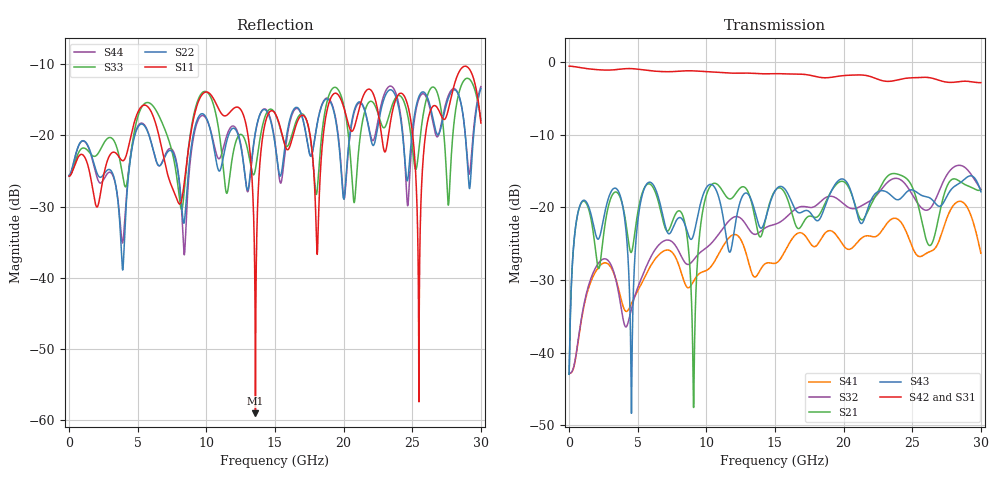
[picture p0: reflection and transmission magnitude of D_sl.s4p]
!diffpair-meanders D_sl (stripline: dense accordion next to the bend), mesh medium
!ports 1 P_near 2 N_near 3 P_far 4 N_far; openEMS FDTD, lumped 50 ohm ports
# Hz S RI R 50.0
! Port[1] = P_near
! Port[2] = N_near
! Port[3] = P_far
! Port[4] = N_far
!freq ReS11 ImS11 ReS12 ImS12 ReS13 ImS13
! ReS14 ImS14
! ReS21 ImS21 ReS22 ImS22 ReS23 ImS23
! ReS24 ImS24
! ReS31 ImS31 ReS32 ImS32 ReS33 ImS33
! ReS34 ImS34
! ReS41 ImS41 ReS42 ImS42 ReS43 ImS43
! ReS44 ImS44
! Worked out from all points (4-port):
!   3000 points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, 10 MHz to 30 GHz, reference 50 ohm
!   strongest paths, dB at 10 MHz, 7.51 GHz, 15.01 GHz, 22.51 GHz, 30 GHz:
!     S42: -0.6, -1.3, -1.6, -2.4, -2.8
!     S31: -0.6, -1.4, -1.5, -2.1, -2.7
!     S43: -43.0, -23.1, -17.8, -17.9, -17.9
!     S21: -43.0, -22.1, -17.7, -17.8, -17.6
!     S32: -42.9, -24.8, -22.3, -18.1, -17.6
!     S41: -42.9, -26.2, -27.7, -23.8, -26.3
!   lowest |S11| = -59.1 dB at 13.58 GHz (marker M1), VSWR 1.00, Z = 49.9 - j0.0807 ohm
!   |S11| at or under -10 dB: start of sweep to end of sweep
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1e7  -0.0516 0.00176  0.00691 0.00157  0.9363 -0.0126  0.00717 -0.000321
     0.00691 0.00157  -0.0524 0.00204  0.00717 -0.000321  0.9352 -0.013
     0.9363 -0.0126  0.00717 -0.000321  -0.0516 0.00178  0.00691 0.00158
     0.00717 -0.000321  0.9352 -0.013  0.00691 0.00158  -0.0524 0.00204
2.29e9  0.0194 0.0338  0.0368 0.021  -0.8776 -0.1025  0.0377 0.0129
        0.0368 0.021  0.0495 0.0114  0.0408 0.0126  -0.8816 -0.0224
        -0.8776 -0.1024  0.0408 0.0126  0.0706 0.0372  0.0618 0.0215
        0.0378 0.0129  -0.8816 -0.0224  0.0617 0.0215  0.0448 0.0112
4.69e9  0.0684 0.0951  0.0502 0.0259  0.8986 0.0963  -0.0138 -0.0186
        0.0502 0.026  0.025 0.0877  -0.0105 -0.0201  0.8944 -0.0817
        0.8985 0.0966  -0.0105 -0.0201  -0.0522 0.0825  -0.00204 0.0263
        -0.0139 -0.0186  0.8944 -0.0817  -0.00204 0.0262  0.0309 0.0884
6.96e9  0.0503 -0.0423  0.069 -0.0266  -0.8169 -0.2483  0.0501 -8.96e-05
        0.069 -0.0266  0.0599 0.0362  0.059 0.00174  -0.8574 -0.0108
        -0.817 -0.2481  0.0589 0.00172  0.1098 -0.0208  0.0741 -0.0243
        0.0503 -8.27e-05  -0.8574 -0.0108  0.0741 -0.0242  0.0619 0.0355
1.358e10  -0.00076 -0.000808  0.0742 -0.0317  0.4318 0.7275  -0.0173 -0.0278
          0.0744 -0.0318  0.0265 0.1023  -0.0416 -0.0505  0.7462 0.3711
          0.4322 0.7277  -0.0413 -0.0503  0.0245 0.0526  0.0888 -0.0166
          -0.0177 -0.028  0.7462 0.371  0.089 -0.0166  0.0268 0.101
1.549e10  0.0952 0.0432  0.1328 -0.0181  0.0943 -0.8253  0.0258 0.0369
          0.1328 -0.0179  0.029 0.0475  0.0346 0.0731  -0.4081 -0.7224
          0.0944 -0.8254  0.0345 0.0726  0.0929 0.0441  0.1389 -0.000586
          0.0259 0.0373  -0.4081 -0.7224  0.1388 -0.000404  0.0274 0.0398
3e10  0.1174 -0.0344  0.1279 -0.0247  -0.027 -0.7319  0.0448 -0.0166
      0.1293 -0.0249  0.0753 0.2006  0.1066 0.0811  -0.6911 -0.2034
      -0.0274 -0.7328  0.1058 0.0799  0.1261 0.0234  0.0972 -0.0814
      0.0455 -0.016  -0.6913 -0.2031  0.0983 -0.0817  0.0889 0.202
